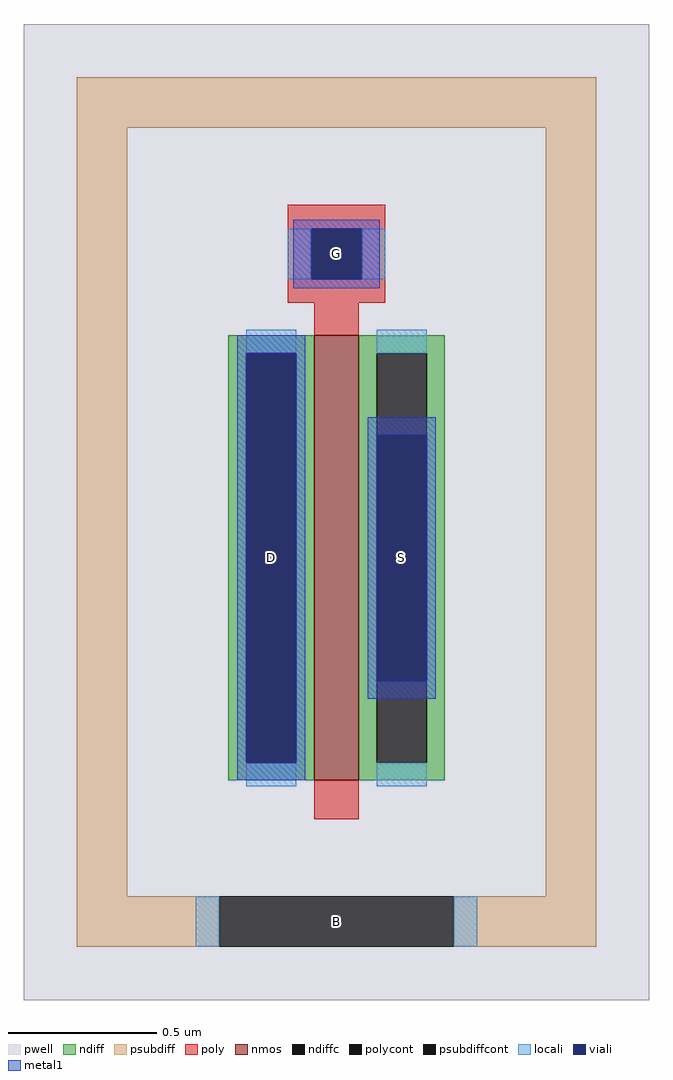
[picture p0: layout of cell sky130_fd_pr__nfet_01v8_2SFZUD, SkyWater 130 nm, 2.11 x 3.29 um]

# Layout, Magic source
magic
tech sky130A
magscale 1 2
<< pwell >>
rect -211 -329 211 329
<< nmos >>
rect -15 -181 15 119
<< ndiff >>
rect -73 107 -15 119
rect -73 -169 -61 107
rect -27 -169 -15 107
rect -73 -181 -15 -169
rect 15 107 73 119
rect 15 -169 27 107
rect 61 -169 73 107
rect 15 -181 73 -169
<< ndiffc >>
rect -61 -169 -27 107
rect 27 -169 61 107
<< psubdiff >>
rect -175 259 175 293
rect -175 -259 -141 259
rect 141 -259 175 259
rect -175 -293 -79 -259
rect 79 -293 175 -259
<< psubdiffcont >>
rect -79 -293 79 -259
<< poly >>
rect -33 191 33 207
rect -33 157 -17 191
rect 17 157 33 191
rect -33 141 33 157
rect -15 119 15 141
rect -15 -207 15 -181
<< polycont >>
rect -17 157 17 191
<< locali >>
rect -33 157 -17 191
rect 17 157 33 191
rect -61 107 -27 123
rect -61 -185 -27 -169
rect 27 107 61 123
rect 27 -185 61 -169
rect -95 -293 -79 -259
rect 79 -293 95 -259
<< viali >>
rect -17 157 17 191
rect -61 -169 -27 107
rect 27 -114 61 52
<< metal1 >>
rect -29 191 29 197
rect -29 157 -17 191
rect 17 157 29 191
rect -29 151 29 157
rect -67 107 -21 119
rect -67 -169 -61 107
rect -27 -169 -21 107
rect 21 52 67 64
rect 21 -114 27 52
rect 61 -114 67 52
rect 21 -126 67 -114
rect -67 -181 -21 -169
<< labels >>
rlabel psubdiffcont 0 -276 0 -276 0 B
port 1 nsew
rlabel ndiffc -44 -31 -44 -31 0 D
port 2 nsew
rlabel ndiffc 44 -31 44 -31 0 S
port 3 nsew
rlabel polycont 0 174 0 174 0 G
port 4 nsew
<< properties >>
string FIXED_BBOX -158 -276 158 276
string gencell sky130_fd_pr__nfet_01v8
string library sky130
string parameters w 1.5 l 0.150 m 1 nf 1 diffcov 100 polycov 100 guard 1 glc 0 grc 0 gtc 0 gbc 1 tbcov 100 rlcov 100 topc 1 botc 0 poverlap 0 doverlap 1 lmin 0.15 wmin 0.42 class mosfet compatible {sky130_fd_pr__nfet_01v8 sky130_fd_pr__nfet_01v8_lvt  sky130_fd_bs_flash__special_sonosfet_star  sky130_fd_pr__nfet_g5v0d10v5 sky130_fd_pr__nfet_05v0_nvt  sky130_fd_pr__nfet_03v3_nvt} full_metal 0 viasrc 60 viadrn 100 viagate 100 viagb 0 viagr 0 viagl 0 viagt 0 doports 1
<< end >>
